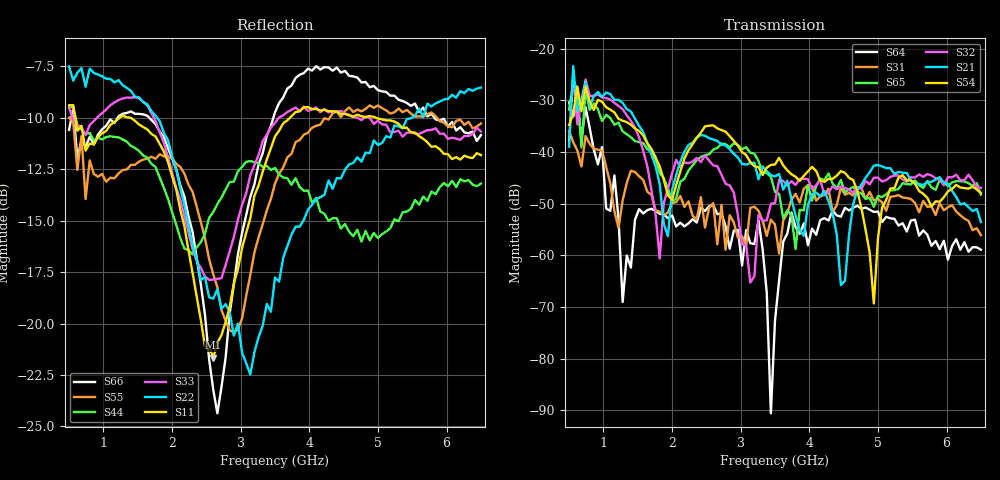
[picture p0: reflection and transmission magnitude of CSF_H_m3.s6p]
!Keysight Technologies,M9804A,MY58100912,A.14.10.03
!Date: Thursday, April 27, 2023 10:28:33
!Correction: S11(C  6-Port  )
!S12(C  6-Port  )
!S13(C  6-Port  )
!S14(C  6-Port  )
!S15(C  6-Port  )
!S16(C  6-Port  )
!S21(C  6-Port  )
!S22(C  6-Port  )
!S23(C  6-Port  )
!S24(C  6-Port  )
!S25(C  6-Port  )
!S26(C  6-Port  )
!S31(C  6-Port  )
!S32(C  6-Port  )
!S33(C  6-Port  )
!S34(C  6-Port  )
!S35(C  6-Port  )
!S36(C  6-Port  )
!S41(C  6-Port  )
!S42(C  6-Port  )
!S43(C  6-Port  )
!S44(C  6-Port  )
!S45(C  6-Port  )
!S46(C  6-Port  )
!S51(C  6-Port  )
!S52(C  6-Port  )
!S53(C  6-Port  )
!S54(C  6-Port  )
!S55(C  6-Port  )
!S56(C  6-Port  )
!S61(C  6-Port  )
!S62(C  6-Port  )
!S63(C  6-Port  )
!S64(C  6-Port  )
!S65(C  6-Port  )
!S66(C  6-Port  )
!S6P File: Measurement: :
# Hz S  RI  R 50
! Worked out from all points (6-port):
!   101 points, 500 MHz to 6.5 GHz, reference 50 ohm
!   strongest paths, dB at 500 MHz, 2 GHz, 3.5 GHz, 5 GHz, 6.5 GHz:
!     S54: -34.7, -49.3, -42.4, -56.7, -47.9
!     S21: -38.9, -47.3, -44.7, -42.5, -53.5
!     S32: -37.7, -44.2, -49.9, -44.9, -46.9
!     S65: -31.8, -49.7, -47.7, -48.5, -48.2
!     S31: -35.9, -49.8, -54.0, -49.1, -56.1
!     S64: -30.4, -52.3, -72.6, -51.5, -58.9
!   lowest |S11| = -21.7 dB at 2.6 GHz (marker M1), VSWR 1.18, Z = 42.6 + j2.02 ohm
!   |S11| at or under -10 dB: 589.9 MHz to 1.237 GHz (647.4 MHz wide, 70.9 % of centre); 1.401 GHz to 3.717 GHz (2.316 GHz wide, 90.5 % of centre); 4.974 GHz to end of sweep
